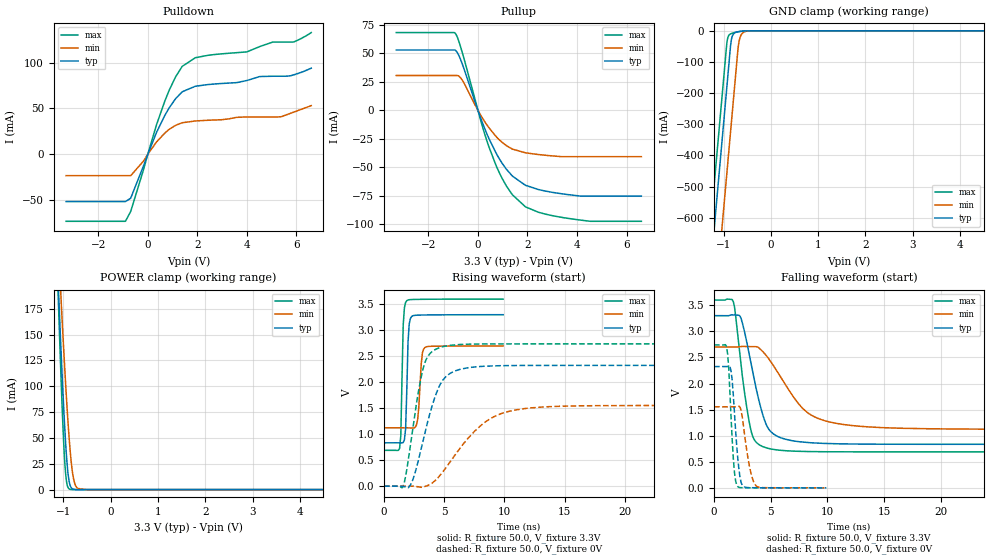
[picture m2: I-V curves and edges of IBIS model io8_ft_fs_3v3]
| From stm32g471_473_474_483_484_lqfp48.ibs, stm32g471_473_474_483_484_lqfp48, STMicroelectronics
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[Model]   io8_ft_fs_3v3
Model_type I/O
Polarity   Non-Inverting
Enable   Active-Low
| CAP_THRESHOLD on pad IOFT is "UDTCAPC" :
| Rising=30.0% of vddiom   Falling=70.0% of vddiom
| C_comp min and max val. don't necessarily correlate with the min and max pvt
| but are the smallest and greatest pad capacitance found.
| var   typ   min   max
C_comp   2.21482pF  2.18664pF  2.96106pF
|C_comp_pullup   1.17149pF  1.24168pF  1.62372pF
|C_comp_pulldown   1.04333pF  944.96224fF  1.33735pF
Vinl = 810.0mV
Vinh = 2.52V
Vmeas = 1.65V   | Reference voltage for timing measurements
Cref  = 50.0pF   | Timing specification test load capacitance value
Rref  = 100.0MOhm   | Timing specification test load resistance value
Vref  = 1.65V   | Timing specification test load voltage
[Model Spec]
| TIME_THRESHOLD on pin ZIV12 is "CMOS" :
| Rising=50.0% of vdd   Falling=50.0% of vdd
Vinl 1.34770V 1.11470V 1.44970V
Vinh 1.77530V 1.49030V 1.90330V
| variable   typ   min   max
[Temperature Range] 25.0 140.0 -40.0
| variable   typ   min   max
[Voltage Range] 3.3V 2.7V 3.6V
| variable   typ   min   max
[POWER Clamp Reference] 3.3V 2.7V 3.6V
| variable   typ   min   max
[GND Clamp Reference] 0V 0V 0V
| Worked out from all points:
|   slope of the pulldown table from 0 to 0.495 V, typ, clamps not added: 15.6 ohm
|   slope of the pullup table from 0 to 0.495 V, typ, clamps not added: 18.3 ohm
|   GND clamp passes 1 mA (typ) near -0.60 V on its own axis
|   POWER clamp passes 1 mA (typ) near -0.81 V on its own axis
|   rising waveform, R_fixture 50.0, V_fixture 3.3V: 20-80 % time 179ps typ, 248ps min, 165ps max; typ from 0.835 V to 3.3 V
|   falling waveform, R_fixture 50.0, V_fixture 3.3V: 20-80 % time 1.53ns typ, 3.16ns min, 1.05ns max; typ from 3.3 V to 0.835 V
|   rising waveform, R_fixture 50.0, V_fixture 0V: 20-80 % time 1.65ns typ, 3.46ns min, 1.13ns max; typ from 0 V to 2.33 V
|   falling waveform, R_fixture 50.0, V_fixture 0V: 20-80 % time 471ps typ, 666ps min, 387ps max; typ from 2.33 V to 0 V
[POWER Clamp]
-3.3V     2.991A     2.546A     3.694A
-1.11V    202.2mA    242.3mA    190.9mA
-1.09V    180mA      223.6mA    163.4mA
-1.05V    136.9mA    187mA      110.9mA
-1.01V    96.55mA    151.6mA    64.02mA
-970mV    60.39mA    117.9mA    27.41mA
-930mV    31.08mA    86.54mA    7.282mA
-860mV    4.779mA    40.5mA     315.2uA
-810mV    823.2uA    18.15mA    29.21uA
-750mV    88.98uA    4.952mA    1.667uA
-510mV    11.25nA    8.405uA    51.8pA
6.6V      0A         0A         0A
[GND Clamp]
-3.3V     -4.209A    -4.487A    -4.067A
-1.41V    -996.3mA   -1.274A    -854.3mA
-1.25V    -724.3mA   -1.002A    -582.3mA
-1.21V    -656.3mA   -933.6mA   -514.3mA
-930mV    -180.3mA   -457.6mA   -39.53mA
-900mV    -129.3mA   -406.6mA   -18.05mA
-840mV    -33.79mA   -304.6mA   -9.105mA
-790mV    -10.15mA   -219.6mA   -6.665mA
-680mV    -2.476mA   -41.57mA   -2.768mA
-630mV    -1.406mA   -13.77mA   -1.51mA
-530mV    -268.4uA   -1.762mA   -214.9uA
6.6V      833.9pA    196.4nA    597.5pA
| variable   typ   min   max
[Pullup Reference] 3.3V 2.7V 3.6V
| variable   typ   min   max
[Pulldown Reference] 0V 0V 0V
[Pullup]
-3.3V     52.98mA    30.54mA    68.31mA
-910mV    52.67mA    30.54mA    67.44mA
-810mV    49.8mA     30.45mA    63.04mA
-640mV    41.21mA    26.66mA    51.34mA
200mV     -11.99mA   -7.459mA   -15.6mA
730mV     -37.54mA   -23mA      -48.39mA
980mV     -46.64mA   -28.26mA   -59.98mA
1.39V     -57.81mA   -34.14mA   -74.25mA
1.92V     -65.96mA   -37.41mA   -84.89mA
2.7V      -70.92mA   -39.51mA   -91.15mA
4.29V     -75.45mA   -40.79mA   -96.94mA
6.6V      -75.45mA   -40.79mA   -97.6mA
[Pulldown]
-3.3V     -51.64mA   -23.39mA   -73.18mA
-900mV    -51.64mA   -23.39mA   -73.04mA
-690mV    -47.97mA   -23.39mA   -62.4mA
350mV     23.63mA    13.27mA    31.99mA
690mV     42.49mA    23.17mA    58.21mA
1.12V     60.48mA    31.51mA    84.25mA
1.39V     68.1mA     34.34mA    95.86mA
1.92V     74.17mA    36.28mA    105.3mA
4V        80.41mA    40.64mA    111.6mA
5.39V     85.07mA    40.9mA     122.4mA
5.88V     86.5mA     45.8mA     122.4mA
6.6V      93.9mA     53mA       132.7mA
[Ramp]
dV/dt_r 1.39485V/1.64859ns 931.93437mV/3.45682ns 1.64324V/1.12785ns
dV/dt_f 1.47909V/1.53248ns 946.45084mV/3.15714ns 1.74612V/1.05029ns
R_load = 50.0
| Removed startup time: 0s 0s 0s  .
| Removed end time: 9.9ns.
[Rising Waveform]
R_fixture   = 50.0
V_fixture   = 3.3V
V_fixture_min = 2.7V
V_fixture_max = 3.6V
0s        834.8mV    1.123V     689.8mV
1.3ns     834.4mV    1.123V     729.2mV
1.4ns     834mV      1.123V     971.7mV
1.6ns     840.1mV    1.123V     3.103V
1.9ns     1.861V     1.122V     3.571V
2ns       2.776V     1.122V     3.583V
2.3ns     3.266V     1.12V      3.592V
2.8ns     3.291V     1.283V     3.595V
3.4ns     3.295V     2.668V     3.597V
9.9ns     3.3V       2.699V     3.6V
| Removed startup time: 0s 0s 0s  .
| Removed end time: 49.9ns.
[Falling Waveform]
R_fixture   = 50.0
V_fixture   = 3.3V
V_fixture_min = 2.7V
V_fixture_max = 3.6V
0s        3.3V       2.7V       3.6V
1.7ns     3.314V     2.7V       3.568V
2.3ns     3.288V     2.706V     2.508V
2.8ns     2.882V     2.709V     1.661V
3.3ns     2.337V     2.707V     1.063V
4.1ns     1.554V     2.654V     812mV
4.7ns     1.171V     2.51V      760.7mV
7.9ns     875.7mV    1.507V     697.6mV
11.4ns    842.6mV    1.215V     690.8mV
49.9ns    834.9mV    1.123V     689.8mV
| Removed startup time: 0s 0s 0s  .
| Removed end time: 49.9ns.
[Rising Waveform]
R_fixture   = 50.0
V_fixture   = 0V
V_fixture_min = 0V
V_fixture_max = 0V
0s        -11.66uV   -15.21uV   -4.06uV
1.6ns     -6.484mV   1.262uV    -1.785mV
2.2ns     23.65mV    192.4uV    788mV
2.9ns     534.7mV    -12.85mV   1.867V
3.4ns     1.022V     -5.833mV   2.375V
4.3ns     1.756V     117.4mV    2.635V
5ns       2.072V     308.5mV    2.691V
8.4ns     2.309V     1.232V     2.737V
11.9ns    2.324V     1.499V     2.739V
49.9ns    2.325V     1.553V     2.739V
| Removed startup time: 0s 0s 0s  .
| Removed end time: 9.9ns.
[Falling Waveform]
R_fixture   = 50.0
V_fixture   = 0V
V_fixture_min = 0V
V_fixture_max = 0V
0s        2.325V     1.553V     2.739V
1.1ns     2.325V     1.553V     2.712V
1.3ns     2.331V     1.553V     2.273V
1.5ns     2.239V     1.553V     1.346V
1.8ns     1.429V     1.553V     294.6mV
2.1ns     548.2mV    1.561V     22.7mV
2.5ns     48.25mV    1.341V     3.359mV
3.1ns     3.985mV    438.8mV    1.753mV
3.7ns     2.063mV    41.04mV    1.214mV
9.9ns     135.7uV    439.7uV    45.27uV
